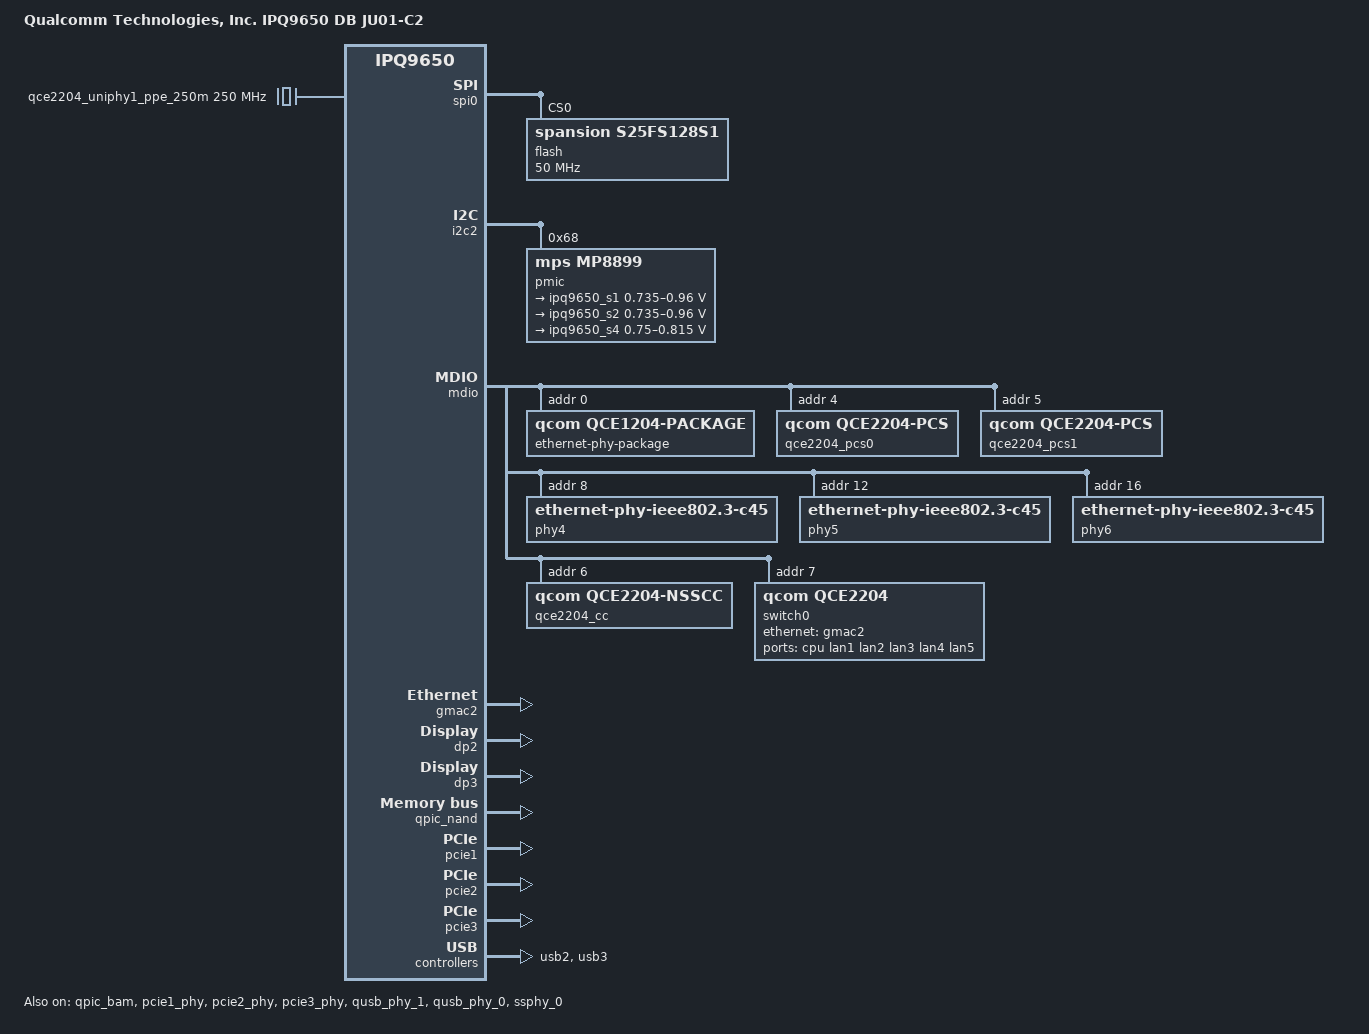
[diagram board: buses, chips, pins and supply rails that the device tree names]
// SPDX-License-Identifier: (GPL-2.0+ OR BSD-3-Clause)
/*
 * IPQ9650 DB JU01-C2 board device tree source
 *
 * Copyright (c) 2020-2021 The Linux Foundation. All rights reserved.
 * Copyright (c) Qualcomm Technologies, Inc. and/or its subsidiaries.
 */

/dts-v1/;

#include "ipq9650-rdp-common.dtsi"
#include <dt-bindings/clock/qcom,qce2204-pcs.h>

/ {
	model = "Qualcomm Technologies, Inc. IPQ9650 DB JU01-C2";
	compatible = "qcom,ipq9650-db-ju01-c2", "qcom,ipq9650";

	aliases {
		ethernet0 = "/soc/dp1";
		ethernet1 = "/soc/dp2";
		ethernet2 = "/soc/dp3";
	};

	clocks {
		qce2204_uniphy1_ppe_250m: qce2204-uniphy1-ppe-250m {
			compatible = "fixed-clock";
			clock-frequency = <250000000>;
			#clock-cells = <0>;
		};
	};
	soc@0 {
		qupv3: geniqup@1ac0000 {
			status = "okay";

			spi0: spi@1a80000 {
				pinctrl-0 = <&qup_spi0_default>;
				pinctrl-names = "default";
				status = "okay";

				flash@0 {
					compatible = "spansion,s25fs128s1", "jedec,spi-nor";
					#address-cells = <1>;
					#size-cells = <1>;
					reg = <0>;
					spi-max-frequency = <50000000>;
				};
			};

			i2c0: i2c@1a84000 {
				pinctrl-0 = <&qup_i2c0_default>;
				pinctrl-names = "default";
				status = "disabled";
			};

			i2c1: i2c@1a88000 {
				pinctrl-0 = <&qup_i2c1_default>;
				pinctrl-names = "default";
				status = "disabled";
			};

			i2c2: i2c@1a8c000 {
				pinctrl-0 = <&qup_i2c2_default>;
				pinctrl-names = "default";
				status = "okay";

				pmic@68 {
					compatible = "mps,mp8899";
					reg = <0x68>;

					regulators {
						/* APC_CX */
						ipq9650_s1: buck1 {
							regulator-name = "buck1";
							regulator-min-microvolt = <735000>;
							regulator-max-microvolt = <960000>;
							regulator-always-on;
							regulator-boot-on;
						};

						/* NSP_CX */
						ipq9650_s2: buck2 {
							regulator-name = "buck2";
							regulator-min-microvolt = <735000>;
							regulator-max-microvolt = <960000>;
						};

						/* NSP_MX */
						ipq9650_s4: buck4 {
							regulator-name = "buck4";
							regulator-min-microvolt = <750000>;
							regulator-max-microvolt = <815000>;
						};
					};
				};
			};

			i2c4: i2c@1a9c000 {
				pinctrl-0 = <&qup_i2c4_default>;
				pinctrl-names = "default";
				status = "disabled";
			};

		};

		mdio:mdio@90000 {
			status = "okay";
			/* gpio reset for PHYs */
			phy-reset-gpio = <&tlmm 18 GPIO_ACTIVE_LOW>, /* Reset for QCE2204. */
				<&tlmm 14 GPIO_ACTIVE_LOW>, /* Reset for UNIPHY1 QCA81XXs. */
				<&tlmm 15 GPIO_ACTIVE_LOW>; /* Reset for UNIPHY2 QCA81XXs. */
			ethernet-phy-package@0 {
				compatible = "qcom,qce1204-package";
				#address-cells = <1>;
				#size-cells = <0>;
				reg = <0>;
				qcom,package-mode = "internal";
				/delete-property/ clocks;
				/delete-property/ clock-names;
				/delete-property/ resets;
				/delete-property/ reset-names;
				phy0: ethernet-phy@0 {
					compatible = "ethernet-phy-ieee802.3-c45";
					reg = <0x0>;
					clocks = <&qce2204_cc QCE2204_NSSCC_MAC1_GEPHY0_TX_CLK>,
						 <&qce2204_cc QCE2204_NSSCC_MAC1_GEPHY0_RX_CLK>,
						 <&qce2204_cc QCE2204_NSSCC_GEPHY0_SYS_CLK>,
						 <&qce2204_cc QCE2204_NSSCC_MAC1_TX_CLK_SRC>,
						 <&qce2204_cc QCE2204_NSSCC_MAC1_RX_CLK_SRC>;
					clock-names = "tx_clk",
						      "rx_clk",
						      "sys_clk",
						      "tx_src_clk",
						      "rx_src_clk";
					resets = <&qce2204_cc QCE2204_NSSCC_MAC1_GEPHY0_TX_ARES>,
						 <&qce2204_cc QCE2204_NSSCC_MAC1_GEPHY0_RX_ARES>,
						 <&qce2204_cc QCE2204_NSSCC_GEPHY0_SYS_ARES>;
					reset-names = "tx_reset",
						      "rx_reset",
						      "sys_reset";
				};

				phy1: ethernet-phy@1 {
					compatible = "ethernet-phy-ieee802.3-c45";
					reg = <0x1>;
					clocks = <&qce2204_cc QCE2204_NSSCC_MAC2_GEPHY1_TX_CLK>,
						 <&qce2204_cc QCE2204_NSSCC_MAC2_GEPHY1_RX_CLK>,
						 <&qce2204_cc QCE2204_NSSCC_GEPHY1_SYS_CLK>,
						 <&qce2204_cc QCE2204_NSSCC_MAC2_TX_CLK_SRC>,
						 <&qce2204_cc QCE2204_NSSCC_MAC2_RX_CLK_SRC>;
					clock-names = "tx_clk",
						      "rx_clk",
						      "sys_clk",
						      "tx_src_clk",
						      "rx_src_clk";
					resets = <&qce2204_cc QCE2204_NSSCC_MAC2_GEPHY1_TX_ARES>,
						 <&qce2204_cc QCE2204_NSSCC_MAC2_GEPHY1_RX_ARES>,
						 <&qce2204_cc QCE2204_NSSCC_GEPHY1_SYS_ARES>;
					reset-names = "tx_reset",
						      "rx_reset",
						      "sys_reset";
				};

				phy2: ethernet-phy@2 {
					compatible = "ethernet-phy-ieee802.3-c45";
					reg = <0x2>;
					clocks = <&qce2204_cc QCE2204_NSSCC_MAC3_GEPHY2_TX_CLK>,
						 <&qce2204_cc QCE2204_NSSCC_MAC3_GEPHY2_RX_CLK>,
						 <&qce2204_cc QCE2204_NSSCC_GEPHY2_SYS_CLK>,
						 <&qce2204_cc QCE2204_NSSCC_MAC3_TX_CLK_SRC>,
						 <&qce2204_cc QCE2204_NSSCC_MAC3_RX_CLK_SRC>;
					clock-names = "tx_clk",
						      "rx_clk",
						      "sys_clk",
						      "tx_src_clk",
						      "rx_src_clk";
					resets = <&qce2204_cc QCE2204_NSSCC_MAC3_GEPHY2_TX_ARES>,
						 <&qce2204_cc QCE2204_NSSCC_MAC3_GEPHY2_RX_ARES>,
						 <&qce2204_cc QCE2204_NSSCC_GEPHY2_SYS_ARES>;
					reset-names = "tx_reset",
						      "rx_reset",
						      "sys_reset";
				};

				phy3: ethernet-phy@3 {
					compatible = "ethernet-phy-ieee802.3-c45";
					reg = <0x3>;
					clocks = <&qce2204_cc QCE2204_NSSCC_MAC4_GEPHY3_TX_CLK>,
						 <&qce2204_cc QCE2204_NSSCC_MAC4_GEPHY3_RX_CLK>,
						 <&qce2204_cc QCE2204_NSSCC_GEPHY3_SYS_CLK>,
						 <&qce2204_cc QCE2204_NSSCC_MAC4_TX_CLK_SRC>,
						 <&qce2204_cc QCE2204_NSSCC_MAC4_RX_CLK_SRC>;
					clock-names = "tx_clk",
						      "rx_clk",
						      "sys_clk",
						      "tx_src_clk",
						      "rx_src_clk";
					resets = <&qce2204_cc QCE2204_NSSCC_MAC4_GEPHY3_TX_ARES>,
						 <&qce2204_cc QCE2204_NSSCC_MAC4_GEPHY3_RX_ARES>,
						 <&qce2204_cc QCE2204_NSSCC_GEPHY3_SYS_ARES>;
					reset-names = "tx_reset",
						      "rx_reset",
						      "sys_reset";
				};
			};

			qce2204_pcs0: ethernet-phy@4 {
				compatible = "qcom,qce2204-pcs";
				reg = <4>;
				clocks = <&qce2204_cc QCE2204_NSSCC_SRDS0_SYS_CLK>,
					 <&qce2204_cc QCE2204_NSSCC_MAC5_RX_SRDS0_CLK>,
					 <&qce2204_cc QCE2204_NSSCC_MAC5_TX_SRDS0_CLK>,
					 <&qce2204_cc QCE2204_NSSCC_MAC5_RX_SRDS0_CH0_XGMII_CLK>,
					 <&qce2204_cc QCE2204_NSSCC_MAC5_TX_SRDS0_CH0_XGMII_CLK>;
				clock-names = "sys",
					      "rx",
					      "tx",
					      "xgmii_rx",
					      "xgmii_tx";
				resets = <&qce2204_cc QCE2204_NSSCC_SRDS0_SYS_ARES>,
					 <&qce2204_cc QCE2204_NSSCC_MAC5_RX_SRDS0_ARES>,
					 <&qce2204_cc QCE2204_NSSCC_MAC5_TX_SRDS0_ARES>,
					 <&qce2204_cc QCE2204_NSSCC_MAC5_RX_SRDS0_CH0_XGMII_ARES>,
					 <&qce2204_cc QCE2204_NSSCC_MAC5_TX_SRDS0_CH0_XGMII_ARES>,
					 <&qce2204_cc QCE2204_NSSCC_SRDS0_XPCS_ARES>;
				reset-names = "sys",
					      "rx",
					      "tx",
					      "xgmii_rx",
					      "xgmii_tx",
					      "xpcs";
				initial_mode = "usxgmii";
				#clock-cells = <1>;
				assigned-clocks = <&qce2204_cc QCE2204_NSSCC_SRDS0_SYS_CLK>;
				assigned-clock-rates = <25000000>;
			};

			qce2204_pcs1: ethernet-phy@5 {
				compatible = "qcom,qce2204-pcs";
				reg = <5>;
				qcom,overspeed;
				clocks = <&qce2204_cc QCE2204_NSSCC_SRDS1_SYS_CLK>,
					 <&qce2204_cc QCE2204_NSSCC_MAC1_SRDS1_CH0_RX_CLK>,
					 <&qce2204_cc QCE2204_NSSCC_MAC1_SRDS1_CH0_TX_CLK>,
					 <&qce2204_cc QCE2204_NSSCC_MAC0_1_SRDS1_CH0_XGMII_RX_CLK>,
					 <&qce2204_cc QCE2204_NSSCC_MAC0_1_SRDS1_CH0_XGMII_TX_CLK>;
				clock-names = "sys",
					      "rx",
					      "tx",
					      "xgmii_rx",
					      "xgmii_tx";
				resets = <&qce2204_cc QCE2204_NSSCC_SRDS1_SYS_ARES>,
					 <&qce2204_cc QCE2204_NSSCC_MAC1_SRDS1_CH0_RX_ARES>,
					 <&qce2204_cc QCE2204_NSSCC_MAC1_SRDS1_CH0_TX_ARES>,
					 <&qce2204_cc QCE2204_NSSCC_MAC0_1_SRDS1_CH0_XGMII_RX_ARES>,
					 <&qce2204_cc QCE2204_NSSCC_MAC0_1_SRDS1_CH0_XGMII_TX_ARES>,
					 <&qce2204_cc QCE2204_NSSCC_SRDS1_XPCS_ARES>;
				reset-names = "sys",
					      "rx",
					      "tx",
					      "xgmii_rx",
					      "xgmii_tx",
					      "xpcs";
				initial_mode = "10gbase-r";
				#clock-cells = <1>;
				assigned-clocks = <&qce2204_cc QCE2204_NSSCC_SRDS1_SYS_CLK>;
				assigned-clock-rates = <25000000>;
			};

			phy4: ethernet-phy@8 {
				compatible = "ethernet-phy-ieee802.3-c45";
				reg = <8>;
			};
			phy5: ethernet-phy@c {
				compatible = "ethernet-phy-ieee802.3-c45";
				reg = <12>;
			};
			/* Laguna pluggable module on QCE2204 port5 */
			phy6: ethernet-phy@11 {
				reg = <16>;
				compatible = "ethernet-phy-ieee802.3-c45";
			};

			/delete-node/ clock-controller@6;
			qce2204_cc: clock-controller@6 {
				compatible = "qcom,qce2204-nsscc";
				reg = <6>;
				#clock-cells = <1>;
				#reset-cells = <1>;
				clocks = <&qce2204_xo>,
					 <&qce2204_pcs0 QCE2204_PCS_RX_CLK>,
					 <&qce2204_pcs0 QCE2204_PCS_TX_CLK>,
					 <&qce2204_pcs1 QCE2204_PCS_RX_CLK>,
					 <&qce2204_pcs1 QCE2204_PCS_TX_CLK>,
					 <&qce2204_uniphy1_ppe_250m>,
					 <0>,
					 <0>,
					 <0>,
					 <&qce2204_uniphy1_tx_312p5m>;
				clock-names = "xo",
					      "uniphy0_rx",
					      "uniphy0_tx",
					      "uniphy1_rx",
					      "uniphy1_tx",
					      "uniphy1_ppe_250m",
					      "uniphy0_rx_312p5m",
					      "uniphy0_tx_312p5m",
					      "uniphy1_rx_312p5m",
					      "uniphy1_tx_312p5m";
				assigned-clocks = <&qce2204_cc QCE2204_NSSCC_SRDS0_RX_MUX_SEL>,
					      <&qce2204_cc QCE2204_NSSCC_SRDS0_TX_MUX_SEL>,
					      <&qce2204_cc QCE2204_NSSCC_SRDS0_XGMII_RX_MUX_SEL>,
					      <&qce2204_cc QCE2204_NSSCC_SRDS0_XGMII_TX_MUX_SEL>;
				assigned-clock-parents = <&qce2204_cc QCE2204_NSSCC_MAC5_RX_DIV_CLK_SRC>,
					      <&qce2204_cc QCE2204_NSSCC_MAC5_TX_DIV_CLK_SRC>,
					      <&qce2204_cc QCE2204_NSSCC_MAC5_RX_DIV_CLK_SRC>,
					      <&qce2204_cc QCE2204_NSSCC_MAC5_TX_DIV_CLK_SRC>;
			};

			switch0@7 {
				compatible = "qcom,qce2204";
				#address-cells = <1>;
				#size-cells = <0>;
				reg = <0x7>;
				status = "okay";

				clocks = <&qce2204_cc QCE2204_NSSCC_AHB_CLK>,
					 <&qce2204_cc QCE2204_NSSCC_SWITCH_CORE_CLK>,
					 <&qce2204_cc QCE2204_NSSCC_SWITCH_IPE_CLK>,
					 <&qce2204_cc QCE2204_NSSCC_SWITCH_BTQ_CLK>,
					 <&qce2204_cc QCE2204_NSSCC_SWITCH_CFG_CLK>,
					 <&qce2204_cc QCE2204_NSSCC_APB_BRIDGE_CLK>;
				clock-names = "ahb",
					      "core",
					      "ipe",
					      "btq",
					      "cfg",
					      "apb";
				resets = <&qce2204_cc QCE2204_NSSCC_SWITCH_CORE_BCR>,
					<&qce2204_cc QCE2204_NSSCC_SWITCH_CORE_ARES>,
					<&qce2204_cc QCE2204_NSSCC_SWITCH_CFG_ARES>;
				reset-names = "core",
						"core_clk_reset",
						"cfg_clk_reset";

				ports {
					#address-cells = <1>;
					#size-cells = <0>;

					port@0 {
						reg = <0>;
						label = "cpu";
						ethernet = <&gmac2>;
						dsa-tag-protocol = "qca_8021q";
						phy-mode = "10gbase-r";
						pcsphy-handle = <&qce2204_pcs1>;
						clocks = <&qce2204_cc QCE2204_NSSCC_MAC0_TX_CLK>,
							 <&qce2204_cc QCE2204_NSSCC_MAC0_RX_CLK>;
						clock-names = "tx",
							      "rx";
						resets = <&qce2204_cc QCE2204_NSSCC_MAC0_TX_ARES>,
							 <&qce2204_cc QCE2204_NSSCC_MAC0_RX_ARES>;
						reset-names = "tx",
							      "rx";
						fixed-link {
							speed = <10000>;
							full-duplex;
							pause;
						};
					};

					port@1 {
						reg = <1>;
						label = "lan1";
						phy-handle = <&phy0>;
						phy-mode = "internal";
						clocks = <&qce2204_cc QCE2204_NSSCC_MAC1_TX_CLK>,
							 <&qce2204_cc QCE2204_NSSCC_MAC1_RX_CLK>;
						clock-names = "tx",
							      "rx";
						resets = <&qce2204_cc QCE2204_NSSCC_MAC1_TX_ARES>,
							 <&qce2204_cc QCE2204_NSSCC_MAC1_RX_ARES>;
						reset-names = "tx",
							      "rx";
					};

					port@2 {
						reg = <2>;
						label = "lan2";
						phy-handle = <&phy1>;
						phy-mode = "internal";
						clocks = <&qce2204_cc QCE2204_NSSCC_MAC2_TX_CLK>,
							 <&qce2204_cc QCE2204_NSSCC_MAC2_RX_CLK>;
						clock-names = "tx",
							      "rx";
						resets = <&qce2204_cc QCE2204_NSSCC_MAC2_TX_ARES>,
							 <&qce2204_cc QCE2204_NSSCC_MAC2_RX_ARES>;
						reset-names = "tx",
							      "rx";
					};

					port@3 {
						reg = <3>;
						label = "lan3";
						phy-handle = <&phy2>;
						phy-mode = "internal";
						clocks = <&qce2204_cc QCE2204_NSSCC_MAC3_TX_CLK>,
							 <&qce2204_cc QCE2204_NSSCC_MAC3_RX_CLK>;
						clock-names = "tx",
							      "rx";
						resets = <&qce2204_cc QCE2204_NSSCC_MAC3_TX_ARES>,
							 <&qce2204_cc QCE2204_NSSCC_MAC3_RX_ARES>;
						reset-names = "tx",
							      "rx";
					};

					port@4 {
						reg = <4>;
						label = "lan4";
						phy-handle = <&phy3>;
						phy-mode = "internal";
						clocks = <&qce2204_cc QCE2204_NSSCC_MAC4_TX_CLK>,
							 <&qce2204_cc QCE2204_NSSCC_MAC4_RX_CLK>;
						clock-names = "tx",
							      "rx";
						resets = <&qce2204_cc QCE2204_NSSCC_MAC4_TX_ARES>,
							 <&qce2204_cc QCE2204_NSSCC_MAC4_RX_ARES>;
						reset-names = "tx",
							      "rx";
					};
					port@5 {
						reg = <5>;
						label = "lan5";
						phy-handle = <&phy6>;
						pcsphy-handle = <&qce2204_pcs0>;
						phy-mode = "usxgmii";
						clocks = <&qce2204_cc QCE2204_NSSCC_MAC5_TX_CLK>,
							 <&qce2204_cc QCE2204_NSSCC_MAC5_RX_CLK>;
						clock-names = "tx",
							      "rx";
						resets = <&qce2204_cc QCE2204_NSSCC_MAC5_TX_ARES>,
							 <&qce2204_cc QCE2204_NSSCC_MAC5_RX_ARES>;
						reset-names = "tx",
							      "rx";
					};
				};
			};
		};

		ess-instance {
			num_devices = <0x2>;

			ess_switch: ess-switch@2a000000 {
				switch_lan_bmp = <0x22>; /* lan port bitmap */
				switch_wan_bmp = <0x40>; /* wan port bitmap */
				switch_mac_mode = <0xe>; /* 10GR for qce2204 */
				switch_mac_mode1 = <0xd>; /* USXGMII for Laguna PHY */
				switch_mac_mode2 = <0xd>; /* USXGMII for Laguna PHY */
				tm_tick_mode = <0>; /* 3x10G */

				qcom,port_phyinfo {
					/delete-node/ port@0;
					/delete-node/ port@1;
					/delete-node/ port@2;
					/delete-node/ port@3;
					port@0 {
						port_id = <1>;
						forced-speed = <10000>;
						forced-duplex = <1>;
						switch_external {
							switch_handle = <&switch1>;
							switch_cpu_port = <0>;
						};
						fixed-link {
							speed = <10000>;
							full-duplex;
							pause;
						};
					};
					port@4 {
						port_id = <5>;
						phy_address = <8>;
						phy-handle = <&phy4>;
						phy-mode = "usxgmii";
						ethernet-phy-ieee802.3-c45;
					};
					port@5 {
						port_id = <6>;
						phy_address = <12>;
						phy-handle = <&phy5>;
						phy-mode = "usxgmii";
						ethernet-phy-ieee802.3-c45;
					};
				};
			};
			switch1:ess-switch1@1 {
#ifdef __CONFIG_IO_COHERENCY__
				dma-coherent;
#endif
				compatible = "qcom,ess-switch-qce22xx";
				device_id = <1>;
				switch_access_mode = "mdio";
				mdio-bus = <&mdio>;
				reg = <0x7>;
				switch_lan_bmp = <0x3e>;
				switch_cpu_bmp = <0x1>;  /* cpu port bitmap */
				switch_mac_mode = <0xe>;
				switch_mac_mode1 = <0xd>; /* USXGMII for Laguna pluggable module */
				qcom,port_phyinfo {
					port@0 {
						port_id = <0>;
						forced-speed = <10000>;
						forced-duplex = <1>;
					};
					port@1 {
						port_id = <1>;
						phy_address = <0>;
						ethernet-phy-ieee802.3-c45;
					};
					port@2 {
						port_id = <2>;
						phy_address = <1>;
						ethernet-phy-ieee802.3-c45;
					};
					port@3 {
						port_id = <3>;
						phy_address = <2>;
						ethernet-phy-ieee802.3-c45;
					};
					port@4 {
						port_id = <4>;
						phy_address = <3>;
						ethernet-phy-ieee802.3-c45;
					};
					port@5 {
						port_id = <5>;
						phy_address = <16>;
						ethernet-phy-ieee802.3-c45;
					};
				};
			};
		};
		gmac2:dp1 {
			device_type = "network";
			compatible = "qcom,nss-dp";
			qcom,id = <1>;
			reg = <0x2a500000 0x4000>;
			qcom,mactype = <1>;
			local-mac-address = [000000000000];
			qcom,ppe-offload-disabled = <1>;
			pinctrl-0 = <&pps_state>;
			pinctrl-names = "default";
			interrupts = <GIC_SPI 362 IRQ_TYPE_EDGE_RISING 0>;
			interrupt-names = "pps_in";
			clocks = <&nsscc NSS_CC_XGMAC0_PTP_REF_CLK>;
			clock-names = "ptp";
			qcom,mht-dev = <1>;
			qcom,is_switch_connected = <1>;
		};

		dp2 {
			device_type = "network";
			compatible = "qcom,nss-dp";
			qcom,id = <5>;
			reg = <0x2a510000 0x4000>;
			qcom,mactype = <1>;
			local-mac-address = [000000000000];
			qcom,ppe-offload-disabled = <0>;
			clocks = <&nsscc NSS_CC_XGMAC4_PTP_REF_CLK>;
			clock-names = "ptp";
		};

		dp3 {
			device_type = "network";
			compatible = "qcom,nss-dp";
			qcom,id = <6>;
			reg = <0x2a514000 0x4000>;
			qcom,mactype = <1>;
			local-mac-address = [000000000000];
			qcom,ppe-offload-disabled = <0>;
			clocks = <&nsscc NSS_CC_XGMAC5_PTP_REF_CLK>;
			clock-names = "ptp";
		};
	};
};

&qpic_bam {
	status = "okay";
};

&qpic_nand {
	status = "okay";
};

&sdhc {
	max-frequency = <192000000>;
	bus-width = <4>;
	mmc-ddr-1_8v;
	mmc-hs200-1_8v;
	non-removable;
	pinctrl-0 = <&sdc_default_state>;
	pinctrl-names = "default";
	status = "disabled";
};

&pcie1_phy {
	status = "okay";
};

&pcie1 {
	perst-gpio = <&tlmm 28 GPIO_ACTIVE_LOW>;
	status = "okay";

	pcie1_rp {
		reg = <0 0 0 0 0>;

		qcom,mhi@0 {
			reg = <0 0 0 0 0>;
		};
	};
};

&pcie2_phy {
	status = "okay";
};

&pcie2 {
	perst-gpio = <&tlmm 52 GPIO_ACTIVE_LOW>;
	status = "okay";

	pcie2_rp {
		reg = <0 0 0 0 0>;

		qcom,mhi@0 {
			reg = <0 0 0 0 0>;
		};
	};
};

&pcie3_phy {
	status = "okay";
};

&pcie3 {
	perst-gpio = <&tlmm 41 GPIO_ACTIVE_LOW>;
	status = "okay";

	pcie3_rp {
		reg = <0 0 0 0 0>;

		qcom,mhi@0 {
			reg = <0 0 0 0 0>;
		};
	};
};

&qusb_phy_1 {
	status = "okay";
};

&usb2 {
	status = "okay";
};

&qusb_phy_0 {
	status = "okay";
};

&ssphy_0 {
	status = "okay";
};

&usb3 {
	status = "okay";
};

&tlmm {
	qup_i2c0_default: qup-i2c0-default-state {
		qup_i2c0_scl {
			pins = "gpio10";
			function = "qup_se1_l1";
			drive-strength = <8>;
			bias-pull-down;
		};
		qup_i2c0_sda {
			pins = "gpio11";
			function = "qup_se1_l0";
			drive-strength = <8>;
			bias-pull-down;
		};
	};

	qup_i2c1_default: qup-i2c1-default-state {
		qup_i2c1_scl {
			pins = "gpio33";
			function = "qup_se2_l1";
			drive-strength = <8>;
			bias-pull-up;
		};
		qup_i2c1_sda {
			pins = "gpio34";
			function = "qup_se2_l0";
			drive-strength = <8>;
			bias-pull-up;
		};
	};

	qup_i2c4_default: qup-i2c4-default-state {
		qup_i2c4_scl {
			pins = "gpio39";
			function = "qup_se7_l1";
			drive-strength = <8>;
			bias-pull-down;
		};
		qup_i2c4_sda {
			pins = "gpio38";
			function = "qup_se7_l0";
			drive-strength = <8>;
			bias-pull-down;
		};
	};

	pcie0_default_state: pcie0-default-state {
		perst-n-pins {
			pins = "gpio25";
			function = "gpio";
			drive-strength = <8>;
			bias-pull-down;
			output-low;
		};
	};

	pcie1_default_state: pcie1-default-state {
		perst-n-pins {
			pins = "gpio28";
			function = "gpio";
			drive-strength = <8>;
			bias-pull-down;
			output-low;
		};
	};

	pcie2_default_state: pcie2-default-state {
		perst-n-pins {
			pins = "gpio52";
			function = "gpio";
			drive-strength = <8>;
			bias-pull-down;
			output-low;
		};
	};

	pcie3_default_state: pcie3-default-state {
		perst-n-pins {
			pins = "gpio41";
			function = "gpio";
			drive-strength = <8>;
			bias-pull-down;
			output-low;
		};
	};

	pcie4_default_state: pcie4-default-state {
		perst-n-pins {
			pins = "gpio31";
			function = "gpio";
			drive-strength = <8>;
			bias-pull-down;
			output-low;
		};
	};

	sdc_default_state: sdc-default-state {
		clk-pins {
			pins = "gpio5";
			function = "sdc_clk";
			drive-strength = <8>;
			bias-disable;
		};

		cmd-pins {
			pins = "gpio4";
			function = "sdc_cmd";
			drive-strength = <8>;
			bias-pull-up;
		};

		data-pins {
			pins = "gpio0", "gpio1", "gpio2", "gpio3";
			function = "sdc_data";
			drive-strength = <8>;
			bias-pull-up;
		};
	};
};

&CPU0 {
	cpu-supply = <&ipq9650_s1>;
};

&CPU1 {
	cpu-supply = <&ipq9650_s1>;
};

&CPU2 {
	cpu-supply = <&ipq9650_s1>;
};

&CPU3 {
	cpu-supply = <&ipq9650_s1>;
};

&CPU4 {
	cpu-supply = <&ipq9650_s1>;
};

&cdsp_power {
	vdd-cx-supply = <&ipq9650_s2>;
	vdd-mx-supply = <&ipq9650_s4>;
};

&remoteproc_cdsp {
	cx-supply = <&cdsp_vdd_cx>;
	mx-supply = <&cdsp_vdd_mx>;
};
